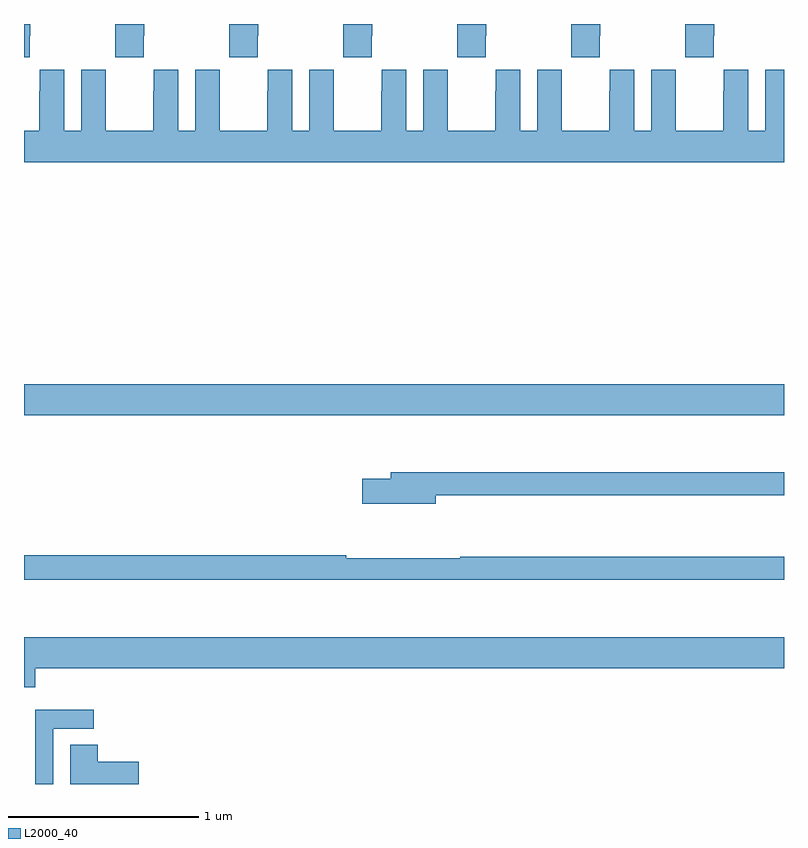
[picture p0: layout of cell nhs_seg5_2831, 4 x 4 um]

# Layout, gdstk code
import gdstk
lib = gdstk.Library(unit=1e-6, precision=1e-09)
def R(c, l, rs):  # rectangles x0, y0, x1, y1
    for r in rs: c.add(gdstk.rectangle(r[:2], r[2:], *l))
def P(c, l, *ps):  # polygons
    for p in ps: c.add(gdstk.Polygon(p, *l))
L2000_40 = (2000, 40)

nhs_seg5_2831 = lib.new_cell('nhs_seg5_2831')
R(nhs_seg5_2831, L2000_40, [(275,876.74,279,876.904)])
P(nhs_seg5_2831, L2000_40, [(275.031,878.737),(275.034,878.737),(275.034,878.799),(275,878.799),(275,878.625),(275.031,878.625)],
  [(275.631,878.737),(275.634,878.737),(275.634,878.799),(275.479,878.799),(275.479,878.737),(275.481,878.737),(275.481,878.625),(275.631,878.625)],
  [(276.231,878.737),(276.234,878.737),(276.234,878.799),(276.079,878.799),(276.079,878.737),(276.081,878.737),(276.081,878.625),(276.231,878.625)],
  [(276.831,878.737),(276.834,878.737),(276.834,878.799),(276.679,878.799),(276.679,878.737),(276.681,878.737),(276.681,878.625),(276.831,878.625)],
  [(277.431,878.737),(277.434,878.737),(277.434,878.799),(277.279,878.799),(277.279,878.737),(277.281,878.737),(277.281,878.625),(277.431,878.625)],
  [(278.031,878.737),(278.034,878.737),(278.034,878.799),(277.879,878.799),(277.879,878.737),(277.881,878.737),(277.881,878.625),(278.031,878.625)],
  [(278.631,878.737),(278.634,878.737),(278.634,878.799),(278.479,878.799),(278.479,878.737),(278.481,878.737),(278.481,878.625),(278.631,878.625)],
  [(279,878.557),(278.9,878.557),(278.9,878.236),(278.812,878.236),(278.812,878.557),(278.682,878.557),(278.682,878.444),(278.681,878.444),(278.681,878.236),(278.431,878.236),(278.431,878.444),(278.43,878.444),(278.43,878.557),(278.3,878.557),(278.3,878.236),(278.212,878.236),(278.212,878.557),(278.082,878.557),(278.082,878.444),(278.081,878.444),(278.081,878.236),(277.831,878.236),(277.831,878.444),(277.83,878.444),(277.83,878.557),(277.7,878.557),(277.7,878.236),(277.612,878.236),(277.612,878.557),(277.482,878.557),(277.482,878.444),(277.481,878.444),(277.481,878.236),(277.231,878.236),(277.231,878.444),(277.23,878.444),(277.23,878.557),(277.1,878.557),(277.1,878.236),(277.012,878.236),(277.012,878.557),(276.882,878.557),(276.882,878.444),(276.881,878.444),(276.881,878.236),(276.631,878.236),(276.631,878.444),(276.63,878.444),(276.63,878.557),(276.5,878.557),(276.5,878.236),(276.412,878.236),(276.412,878.557),(276.282,878.557),(276.282,878.444),(276.281,878.444),(276.281,878.236),(276.031,878.236),(276.031,878.444),(276.03,878.444),(276.03,878.557),(275.9,878.557),(275.9,878.236),(275.812,878.236),(275.812,878.557),(275.682,878.557),(275.682,878.444),(275.681,878.444),(275.681,878.236),(275.431,878.236),(275.431,878.444),(275.43,878.444),(275.43,878.557),(275.3,878.557),(275.3,878.236),(275.212,878.236),(275.212,878.557),(275.082,878.557),(275.082,878.444),(275.081,878.444),(275.081,878.236),(275,878.236),(275,878.072),(279,878.072)],
  [(277.168,876.318),(279,876.318),(279,876.439),(276.929,876.439),(276.929,876.405),(276.78,876.405),(276.78,876.275),(277.168,876.275)],
  [(279,875.995),(277.295,875.995),(277.295,875.987),(276.695,875.987),(276.695,876.002),(275,876.002),(275,875.874),(279,875.874)],
  [(275.06,875.408),(279,875.408),(279,875.572),(275,875.572),(275,875.309),(275.06,875.309)],
  [(275.154,875.091),(275.368,875.091),(275.368,875.19),(275.058,875.19),(275.058,874.799),(275.154,874.799)],
  [(275.605,874.916),(275.387,874.916),(275.387,875.006),(275.243,875.006),(275.243,874.799),(275.605,874.799)])

lib.write_gds('nhs_seg5_2831.gds')
